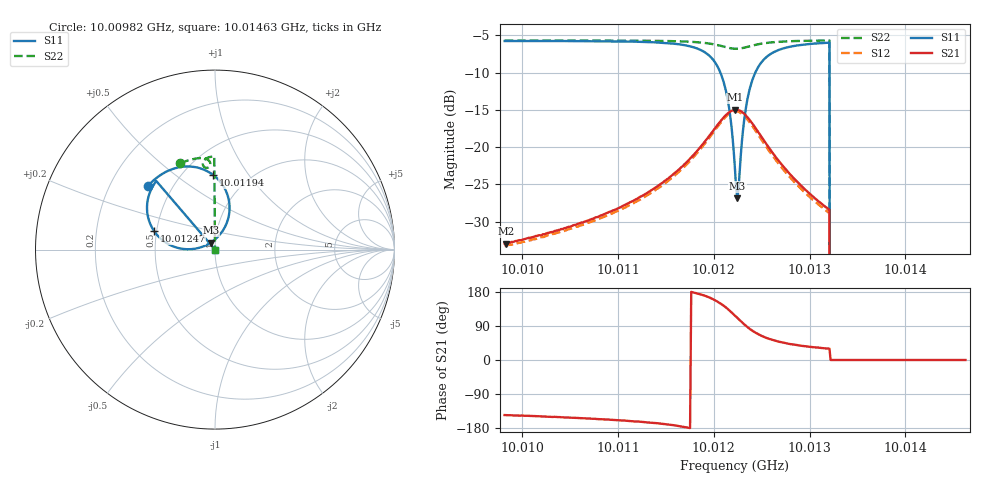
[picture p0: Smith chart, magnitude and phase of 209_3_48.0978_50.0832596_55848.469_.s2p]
#  HZ  S  RI  R  50.00
! Rohde & Schwarz Vector Network Analyzer
! Rohde-Schwarz,ZNB20-2Port,1311601062101988,3.16
! Created: UTC 12/23/2023, 3:55:34 AM
! freq[Hz]  re:S11  im:S11  re:S21  im:S21  re:S12  im:S12  re:S22  im:S22
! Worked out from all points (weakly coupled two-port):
!   401 points, 10.00982 GHz to 10.01463 GHz, reference 50 ohm
!   highest |S21| = -14.97 dB at 10.01222 GHz (marker M1); lowest = -32.9 dB at 10.00983 GHz (marker M2)
!   lowest |S11| = -26.8 dB at 10.01225 GHz (marker M3), VSWR 1.10, Z = 47.6 + j3.77 ohm
!   |S11| at or under -10 dB: 10.01207 GHz to 10.01243 GHz (363.9 kHz wide, 0.00363 % of centre); 10.01321 GHz to end of sweep
!   |S22| runs from - to -5.7 dB; largest |S21 - S12| = 0.0089
!   S11 on the Smith chart (normalised r, x): 10.00982 GHz: 0.36, +0.35; 10.01194 GHz: 0.69, +0.70; 10.01247 GHz: 0.49, +0.11; 10.01463 GHz: 1.00, +0.00
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1.0009817e10  -0.3759 0.3532  -0.0186 -0.0129  -0.0171 -0.0133  -0.193 0.4811
1.0009829e10  -0.3751 0.3539  -0.0186 -0.0128  -0.0172 -0.0133  -0.1921 0.4815
1.0010622e10  -0.3205 0.4035  -0.028 -0.0139  -0.0261 -0.0148  -0.1417 0.4993
1.0011428e10  -0.2157 0.4553  -0.0543 -0.0122  -0.0516 -0.0142  -0.0833 0.5098
1.0011716e10  -0.1316 0.4626  -0.0793 -0.00302  -0.0763 -0.00713  -0.0574 0.508
1.0011945e10  -0.00956 0.4154  -0.1138 0.0286  -0.1116 0.0218  -0.0341 0.4959
1.0012053e10  0.0602 0.3286  -0.1276 0.0686  -0.1277 0.0601  -0.0263 0.4815
1.0012125e10  0.0812 0.2272  -0.1237 0.1075  -0.1257 0.0993  -0.0274 0.4684
1.0012173e10  0.0643 0.1448  -0.1077 0.1363  -0.1113 0.1284  -0.0331 0.4604
1.0012221e10  0.0141 0.0694  -0.0807 0.1592  -0.0847 0.1522  -0.0421 0.4557
1.0012245e10  -0.0226 0.0395  -0.0641 0.1663  -0.0685 0.1596  -0.0476 0.4553
1.0012269e10  -0.0646 0.0179  -0.0469 0.1698  -0.0509 0.1637  -0.0527 0.4561
1.0012305e10  -0.1309 0.00262  -0.0204 0.1691  -0.0244 0.1632  -0.0596 0.4596
1.0012354e10  -0.2135 0.0112  0.0102 0.158  0.00467 0.1529  -0.0655 0.4673
1.0012402e10  -0.2782 0.0418  0.0316 0.1409  0.0254 0.1366  -0.0679 0.476
1.0012474e10  -0.3386 0.1021  0.0483 0.1136  0.0428 0.1103  -0.0662 0.4878
1.0012666e10  -0.3788 0.2359  0.0542 0.0627  0.0491 0.0617  -0.0502 0.5065
1.0013027e10  -0.3468 0.3524  0.039 0.0265  0.0357 0.0268  -0.0184 0.5183
1.0013183e10  -0.3295 0.3787  0.0337 0.0199  0.0309 0.0204  -0.00571 0.5201
1.0013243e10  0 0  0 0  0 0  0 0
1.0013832e10  0 0  0 0  0 0  0 0
1.0014626e10  0 0  0 0  0 0  0 0
